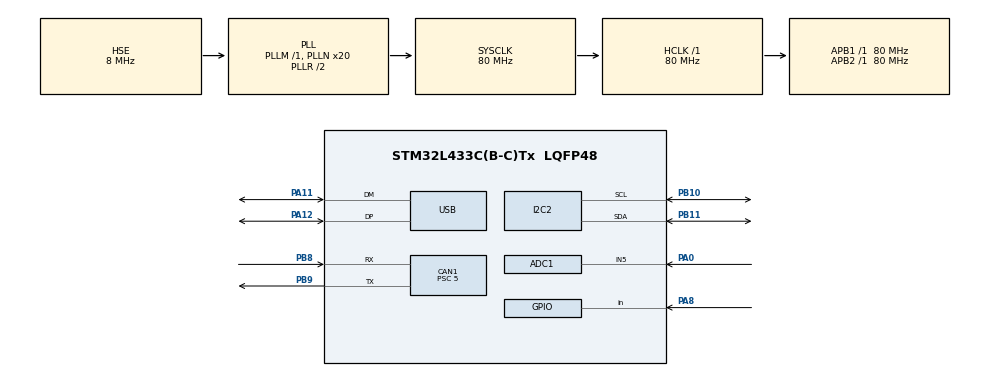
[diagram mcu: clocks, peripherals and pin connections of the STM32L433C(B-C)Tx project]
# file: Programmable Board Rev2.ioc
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ADC1.Channel-0\#ChannelRegularConversion=ADC_CHANNEL_5
ADC1.NbrOfConversionFlag=1
ADC1.OffsetNumber-0\#ChannelRegularConversion=ADC_OFFSET_NONE
ADC1.Rank-0\#ChannelRegularConversion=1
ADC1.SamplingTime-0\#ChannelRegularConversion=ADC_SAMPLETIME_47CYCLES_5
ADC1.master=1
CAN1.BS1=CAN_BS1_13TQ
CAN1.BS2=CAN_BS2_2TQ
CAN1.CalculateBaudRate=1000000
CAN1.CalculateTimeBit=1000
CAN1.CalculateTimeQuantum=62.5
CAN1.Prescaler=5
CAN1.RFLM=ENABLE
CAN1.TXFP=ENABLE
I2C2.Timing=0x10D19CE4
Mcu.Family=STM32L4
Mcu.Name=STM32L433C(B-C)Tx
Mcu.Package=LQFP48
NVIC.CAN1_RX0_IRQn=true\:3\:0\:true\:false\:true\:true\:true\:true
NVIC.CAN1_SCE_IRQn=true\:3\:0\:true\:false\:true\:true\:true\:true
NVIC.CAN1_TX_IRQn=true\:3\:0\:true\:false\:true\:true\:true\:true
NVIC.PriorityGroup=NVIC_PRIORITYGROUP_4
NVIC.USB_IRQn=true\:4\:0\:true\:false\:true\:false\:true\:true
PA0.Signal=ADCx_IN5
PA11.Mode=Device
PA11.Signal=USB_DM
PA12.Mode=Device
PA12.Signal=USB_DP
PA13\ (JTMS-SWDIO).Mode=Trace_Asynchronous_SW
PA13\ (JTMS-SWDIO).Signal=SYS_JTMS-SWDIO
PA14\ (JTCK-SWCLK).Mode=Trace_Asynchronous_SW
PA14\ (JTCK-SWCLK).Signal=SYS_JTCK-SWCLK
PA8.GPIO_PuPd=GPIO_PULLUP
PA8.Signal=GPIO_Input
PB10.Mode=I2C
PB10.Signal=I2C2_SCL
PB11.Mode=I2C
PB11.Signal=I2C2_SDA
PB3\ (JTDO-TRACESWO).Mode=Trace_Asynchronous_SW
PB3\ (JTDO-TRACESWO).Signal=SYS_JTDO-SWO
PB8.Mode=CAN_Activate
PB8.Signal=CAN1_RX
PB9.Mode=CAN_Activate
PB9.Signal=CAN1_TX
PH0-OSC_IN\ (PH0).Mode=HSE-External-Clock-Source
PH0-OSC_IN\ (PH0).Signal=RCC_OSC_IN
ProjectManager.HeapSize=0x200
ProjectManager.StackSize=0x400
ProjectManager.TargetToolchain=STM32CubeIDE
RCC.ADCFreq_Value=48000000
RCC.AHBFreq_Value=80000000
RCC.APB1Freq_Value=80000000
RCC.APB1TimFreq_Value=80000000
RCC.APB2Freq_Value=80000000
RCC.APB2TimFreq_Value=80000000
RCC.CortexFreq_Value=80000000
RCC.HCLKFreq_Value=80000000
RCC.HSE_VALUE=8000000
RCC.HSI48_VALUE=48000000
RCC.HSI_VALUE=16000000
RCC.LSE_VALUE=32768
RCC.MSI_VALUE=4000000
RCC.PLLN=20
RCC.PLLSAI1N=12
RCC.PLLSourceVirtual=RCC_PLLSOURCE_HSE
RCC.SYSCLKFreq_VALUE=80000000
RCC.SYSCLKSource=RCC_SYSCLKSOURCE_PLLCLK
RCC.USBFreq_Value=48000000
RCC.VCOOutputFreq_Value=160000000
SH.ADCx_IN5.0=ADC1_IN5,IN5-Single-Ended
USB_DEVICE.CLASS_NAME_FS=CDC
USB_DEVICE.VirtualMode=Cdc
USB_DEVICE.VirtualModeFS=Cdc_FS
VP_USB_DEVICE_VS_USB_DEVICE_CDC_FS.Mode=CDC_FS
board=custom

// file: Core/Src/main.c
/* USER CODE BEGIN Header */
/**
  ******************************************************************************
  * @file           : main.c
  * @brief          : Main program body
  ******************************************************************************
  * @attention
  *
  * Copyright (c) 2026 STMicroelectronics.
  * All rights reserved.
  *
  * This software is licensed under terms that can be found in the LICENSE file
  * in the root directory of this software component.
  * If no LICENSE file comes with this software, it is provided AS-IS.
  *
  ******************************************************************************
  */
/* USER CODE END Header */
#include "main.h"
#include "usb_device.h"

/* USER CODE BEGIN Includes */
#include "circular_buffer.h"
#include "can_translator.h"
#include "error_reporter.h"
#include "error_codes.h"
#include "usbd_cdc_if.h"
/* USER CODE END Includes */

ADC_HandleTypeDef hadc1;

CAN_HandleTypeDef hcan1;

I2C_HandleTypeDef hi2c2;

/* USER CODE BEGIN PV */
volatile BridgeState_t current_bridge_state = BRIDGE_STATE_NORMAL;

static uint8_t usb_rx_storage[512];
CircularBuffer_t usb_rx_buffer;
static uint8_t usb_tx_storage[1024];
CircularBuffer_t usb_tx_buffer;

static CANMessage_t can_tx_storage[128];
CANQueue_t can_tx_queue;
volatile ErrorCode_t can_tx_error = ERROR_NONE;
static CANMessage_t can_rx_storage[128];
CANQueue_t can_rx_queue;

/* USER CODE END PV */

void SystemClock_Config(void);
void PeriphCommonClock_Config(void);
static void MX_GPIO_Init(void);
static void MX_CAN1_Init(void);
static void MX_I2C2_Init(void);
static void MX_ADC1_Init(void);

int main(void)
{

  /* MCU Configuration--------------------------------------------------------*/

  /* Reset of all peripherals, Initializes the Flash interface and the Systick. */
  HAL_Init();

  /* Configure the system clock */
  SystemClock_Config();

  /* Configure the peripherals common clocks */
  PeriphCommonClock_Config();

  /* USER CODE BEGIN SysInit */
  CBinit(&usb_rx_buffer, usb_rx_storage, sizeof(usb_rx_storage));
  CBinit(&usb_tx_buffer, usb_tx_storage, sizeof(usb_tx_storage));
  CANQinit(&can_tx_queue, can_tx_storage, sizeof(can_tx_storage) / sizeof(can_tx_storage[0]));
  CANQinit(&can_rx_queue, can_rx_storage, sizeof(can_rx_storage) / sizeof(can_rx_storage[0]));
  /* USER CODE END SysInit */

  /* Initialize all configured peripherals */
  MX_GPIO_Init();
  MX_CAN1_Init();
  MX_USB_DEVICE_Init();
  MX_I2C2_Init();
  MX_ADC1_Init();
  /* USER CODE BEGIN 2 */
  CAN_FilterTypeDef filter = {0};

  filter.FilterBank = 0;
  filter.FilterMode = CAN_FILTERMODE_IDMASK;
  filter.FilterScale = CAN_FILTERSCALE_32BIT;
  filter.FilterFIFOAssignment = CAN_FILTER_FIFO0;
  filter.FilterActivation = CAN_FILTER_ENABLE;
  // ID and mask fields remain zero: accept all CAN IDs.
  if (HAL_CAN_ConfigFilter(&hcan1, &filter) != HAL_OK) {
    report_tier1_fatal(ERROR_CAN_FILTER_CONFIG);
  }

  if (HAL_CAN_Start(&hcan1) != HAL_OK) {
    report_tier1_fatal(ERROR_CAN_START);
  }

  if (HAL_CAN_ActivateNotification(&hcan1, CAN_IT_TX_MAILBOX_EMPTY |
                                         CAN_IT_RX_FIFO0_MSG_PENDING |
                                         CAN_IT_RX_FIFO0_OVERRUN) != HAL_OK) {
    report_tier1_fatal(ERROR_CAN_RX_NOTIFICATION);
  }
  /* USER CODE END 2 */

  /* Infinite loop */
  /* USER CODE BEGIN WHILE */
  while (1)
  {
    if (current_bridge_state == BRIDGE_STATE_WAITING_FOR_SYNC) {
      uint8_t rx_byte;
      if (CBpop(&usb_rx_buffer, &rx_byte)) {
        if (rx_byte == '\r') {
          current_bridge_state = BRIDGE_STATE_NORMAL;
        }
      }
    } else {
      uint16_t frames_queued = 0U;
      if (SLCANToCAN(&usb_rx_buffer, &can_tx_queue, &frames_queued)) {
        for (uint16_t i = 0U; i < frames_queued; i++) {
          if (!usb_tx_push(&usb_tx_buffer, "\r", 1U)) {
            report_tier2_runtime(ERROR_USB_TX_BUFFER_FULL);
            break;
          }
        }
      }

      if (current_bridge_state == BRIDGE_STATE_NORMAL) {
        CANToSLCAN(&usb_tx_buffer, &can_rx_queue);
      }
    }
    /* USER CODE END WHILE */
  }
}

void SystemClock_Config(void)
{
  RCC_OscInitTypeDef RCC_OscInitStruct = {0};
  RCC_ClkInitTypeDef RCC_ClkInitStruct = {0};

  /** Configure the main internal regulator output voltage
  */
  if (HAL_PWREx_ControlVoltageScaling(PWR_REGULATOR_VOLTAGE_SCALE1) != HAL_OK)
  {
    Error_Handler();
  }

  /** Initializes the RCC Oscillators according to the specified parameters
  * in the RCC_OscInitTypeDef structure.
  */
  RCC_OscInitStruct.OscillatorType = RCC_OSCILLATORTYPE_HSE;
  RCC_OscInitStruct.HSEState = RCC_HSE_BYPASS;
  RCC_OscInitStruct.PLL.PLLState = RCC_PLL_ON;
  RCC_OscInitStruct.PLL.PLLSource = RCC_PLLSOURCE_HSE;
  RCC_OscInitStruct.PLL.PLLM = 1;
  RCC_OscInitStruct.PLL.PLLN = 20;
  RCC_OscInitStruct.PLL.PLLP = RCC_PLLP_DIV7;
  RCC_OscInitStruct.PLL.PLLQ = RCC_PLLQ_DIV2;
  RCC_OscInitStruct.PLL.PLLR = RCC_PLLR_DIV2;
  if (HAL_RCC_OscConfig(&RCC_OscInitStruct) != HAL_OK)
  {
    Error_Handler();
  }

  /** Initializes the CPU, AHB and APB buses clocks
  */
  RCC_ClkInitStruct.ClockType = RCC_CLOCKTYPE_HCLK|RCC_CLOCKTYPE_SYSCLK
                              |RCC_CLOCKTYPE_PCLK1|RCC_CLOCKTYPE_PCLK2;
  RCC_ClkInitStruct.SYSCLKSource = RCC_SYSCLKSOURCE_PLLCLK;
  RCC_ClkInitStruct.AHBCLKDivider = RCC_SYSCLK_DIV1;
  RCC_ClkInitStruct.APB1CLKDivider = RCC_HCLK_DIV1;
  RCC_ClkInitStruct.APB2CLKDivider = RCC_HCLK_DIV1;

  if (HAL_RCC_ClockConfig(&RCC_ClkInitStruct, FLASH_LATENCY_4) != HAL_OK)
  {
    Error_Handler();
  }
}

void PeriphCommonClock_Config(void)
{
  RCC_PeriphCLKInitTypeDef PeriphClkInit = {0};

  /** Initializes the peripherals clock
  */
  PeriphClkInit.PeriphClockSelection = RCC_PERIPHCLK_USB|RCC_PERIPHCLK_ADC;
  PeriphClkInit.AdcClockSelection = RCC_ADCCLKSOURCE_PLLSAI1;
  PeriphClkInit.UsbClockSelection = RCC_USBCLKSOURCE_PLLSAI1;
  PeriphClkInit.PLLSAI1.PLLSAI1Source = RCC_PLLSOURCE_HSE;
  PeriphClkInit.PLLSAI1.PLLSAI1M = 1;
  PeriphClkInit.PLLSAI1.PLLSAI1N = 12;
  PeriphClkInit.PLLSAI1.PLLSAI1P = RCC_PLLP_DIV7;
  PeriphClkInit.PLLSAI1.PLLSAI1Q = RCC_PLLQ_DIV2;
  PeriphClkInit.PLLSAI1.PLLSAI1R = RCC_PLLR_DIV2;
  PeriphClkInit.PLLSAI1.PLLSAI1ClockOut = RCC_PLLSAI1_48M2CLK|RCC_PLLSAI1_ADC1CLK;
  if (HAL_RCCEx_PeriphCLKConfig(&PeriphClkInit) != HAL_OK)
  {
    Error_Handler();
  }
}

static void MX_ADC1_Init(void)
{

  ADC_ChannelConfTypeDef sConfig = {0};

  /** Common config
  */
  hadc1.Instance = ADC1;
  hadc1.Init.ClockPrescaler = ADC_CLOCK_ASYNC_DIV1;
  hadc1.Init.Resolution = ADC_RESOLUTION_12B;
  hadc1.Init.DataAlign = ADC_DATAALIGN_RIGHT;
  hadc1.Init.ScanConvMode = ADC_SCAN_DISABLE;
  hadc1.Init.EOCSelection = ADC_EOC_SINGLE_CONV;
  hadc1.Init.LowPowerAutoWait = DISABLE;
  hadc1.Init.ContinuousConvMode = DISABLE;
  hadc1.Init.NbrOfConversion = 1;
  hadc1.Init.DiscontinuousConvMode = DISABLE;
  hadc1.Init.ExternalTrigConv = ADC_SOFTWARE_START;
  hadc1.Init.ExternalTrigConvEdge = ADC_EXTERNALTRIGCONVEDGE_NONE;
  hadc1.Init.DMAContinuousRequests = DISABLE;
  hadc1.Init.Overrun = ADC_OVR_DATA_PRESERVED;
  hadc1.Init.OversamplingMode = DISABLE;
  if (HAL_ADC_Init(&hadc1) != HAL_OK)
  {
    Error_Handler();
  }

  /** Configure Regular Channel
  */
  sConfig.Channel = ADC_CHANNEL_5;
  sConfig.Rank = ADC_REGULAR_RANK_1;
  sConfig.SamplingTime = ADC_SAMPLETIME_47CYCLES_5;
  sConfig.SingleDiff = ADC_SINGLE_ENDED;
  sConfig.OffsetNumber = ADC_OFFSET_NONE;
  sConfig.Offset = 0;
  if (HAL_ADC_ConfigChannel(&hadc1, &sConfig) != HAL_OK)
  {
    Error_Handler();
  }

}

static void MX_CAN1_Init(void)
{

  hcan1.Instance = CAN1;
  hcan1.Init.Prescaler = 5;
  hcan1.Init.Mode = CAN_MODE_NORMAL;
  hcan1.Init.SyncJumpWidth = CAN_SJW_1TQ;
  hcan1.Init.TimeSeg1 = CAN_BS1_13TQ;
  hcan1.Init.TimeSeg2 = CAN_BS2_2TQ;
  hcan1.Init.TimeTriggeredMode = DISABLE;
  hcan1.Init.AutoBusOff = DISABLE;
  hcan1.Init.AutoWakeUp = DISABLE;
  hcan1.Init.AutoRetransmission = DISABLE;
  hcan1.Init.ReceiveFifoLocked = ENABLE;
  hcan1.Init.TransmitFifoPriority = ENABLE;
  if (HAL_CAN_Init(&hcan1) != HAL_OK)
  {
    Error_Handler();
  }

}

static void MX_I2C2_Init(void)
{

  hi2c2.Instance = I2C2;
  hi2c2.Init.Timing = 0x10D19CE4;
  hi2c2.Init.OwnAddress1 = 0;
  hi2c2.Init.AddressingMode = I2C_ADDRESSINGMODE_7BIT;
  hi2c2.Init.DualAddressMode = I2C_DUALADDRESS_DISABLE;
  hi2c2.Init.OwnAddress2 = 0;
  hi2c2.Init.OwnAddress2Masks = I2C_OA2_NOMASK;
  hi2c2.Init.GeneralCallMode = I2C_GENERALCALL_DISABLE;
  hi2c2.Init.NoStretchMode = I2C_NOSTRETCH_DISABLE;
  if (HAL_I2C_Init(&hi2c2) != HAL_OK)
  {
    Error_Handler();
  }

  /** Configure Analogue filter
  */
  if (HAL_I2CEx_ConfigAnalogFilter(&hi2c2, I2C_ANALOGFILTER_ENABLE) != HAL_OK)
  {
    Error_Handler();
  }

  /** Configure Digital filter
  */
  if (HAL_I2CEx_ConfigDigitalFilter(&hi2c2, 0) != HAL_OK)
  {
    Error_Handler();
  }

}

static void MX_GPIO_Init(void)
{
  GPIO_InitTypeDef GPIO_InitStruct = {0};

  /* GPIO Ports Clock Enable */
  __HAL_RCC_GPIOH_CLK_ENABLE();
  __HAL_RCC_GPIOA_CLK_ENABLE();
  __HAL_RCC_GPIOB_CLK_ENABLE();

  /*Configure GPIO pin : PA8 */
  GPIO_InitStruct.Pin = GPIO_PIN_8;
  GPIO_InitStruct.Mode = GPIO_MODE_INPUT;
  GPIO_InitStruct.Pull = GPIO_PULLUP;
  HAL_GPIO_Init(GPIOA, &GPIO_InitStruct);

}

void Error_Handler(void)
{
  __disable_irq();
  while (1)
  {
  }
}
